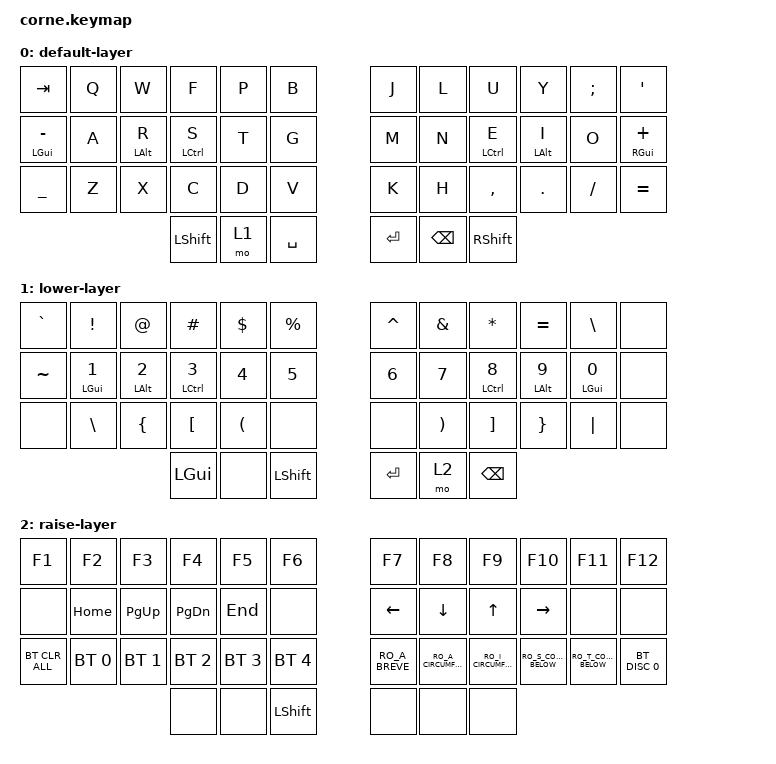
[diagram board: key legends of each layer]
/*
 * Copyright (c) 2020 The ZMK Contributors
 *
 * SPDX-License-Identifier: MIT
 */

#include <behaviors.dtsi>
#include <dt-bindings/zmk/bt.h>
#include <dt-bindings/zmk/keys.h>
#include "keys_ro_programmers.h"

/ {
    behaviors {
        hml: hml {
            compatible = "zmk,behavior-hold-tap";
            label = "HOMEROW MOD LEFT";
            bindings = <&kp>, <&kp>;

            #binding-cells = <2>;
            tapping-term-ms = <280>;
            quick-tap-ms = <175>;
            hold-trigger-key-positions = <6 7 8 9 10 11 18 19 20 21 22 23 30 31 32 33 34 35 39 40 41 36 37 38>;
            hold-trigger-on-release;
            flavor = "balanced";
        };

        hmr: hmr {
            compatible = "zmk,behavior-hold-tap";
            label = "HOMEROW MOD RIGHT";
            bindings = <&kp>, <&kp>;

            #binding-cells = <2>;
            tapping-term-ms = <280>;
            quick-tap-ms = <175>;
            hold-trigger-key-positions = <39 40 41 36 37 38 0 1 2 3 4 5 12 13 14 15 16 17 24 25 26 27 28 29>;
            hold-trigger-on-release;
            flavor = "balanced";
        };
    };

    combos {
        compatible = "zmk,combos";

        ESC_CMB {
            bindings = <&kp ESC>;
            key-positions = <36 41>;
        };
    };

    keymap {
        compatible = "zmk,keymap";

        default-layer {
            // -----------------------------------------------------------------------------------------
            // |  TAB |  Q  |  W  |  E  |  R  |  T  |   |  Y  |  U   |  I  |  O  |  P  | BKSP |
            // | CTRL |  A  |  S  |  D  |  F  |  G  |   |  H  |  J   |  K  |  L  |  ;  |  '   |
            // | SHFT |  Z  |  X  |  C  |  V  |  B  |   |  N  |  M   |  ,  |  .  |  /  | ESC  |
            //                    | GUI | LWR | SPC |   | ENT | RSE  | ALT |

            bindings = <
&kp TAB          &kp Q  &kp W        &kp F         &kp P  &kp B        &kp J    &kp L     &kp U         &kp Y        &kp SEMI  &kp APOS
&hml LGUI MINUS  &kp A  &hml LALT R  &hml LCTRL S  &kp T  &kp G        &kp M    &kp N     &hmr LCTRL E  &hmr LALT I  &kp O     &hmr RGUI PLUS
&kp UNDERSCORE   &kp Z  &kp X        &kp C         &kp D  &kp V        &kp K    &kp H     &kp COMMA     &kp DOT      &kp FSLH  &kp EQUAL
                                     &kp LSHIFT    &mo 1  &kp SPACE    &kp RET  &kp BSPC  &kp RSHIFT
            >;
        };

        lower-layer {
            // -----------------------------------------------------------------------------------------
            // |  TAB |  1  |  2  |  3  |  4  |  5  |   |  6  |  7  |  8  |  9  |  0  | BKSP |
            // | BTCLR| BT1 | BT2 | BT3 | BT4 | BT5 |   | LFT | DWN |  UP | RGT |     |      |
            // | SHFT |     |     |     |     |     |   |     |     |     |     |     |      |
            //                    | GUI |     | SPC |   | ENT |     | ALT |

            bindings = <
&kp GRAVE  &kp EXCLAMATION  &kp AT_SIGN     &kp POUND         &kp DOLLAR            &kp PERCENT    &kp CARET  &kp AMPERSAND          &kp ASTERISK       &kp EQUAL        &kp BACKSLASH  &none
&kp TILDE  &hml LGUI N1     &hml LALT N2    &hml LCTRL N3     &kp N4                &kp N5         &kp N6     &kp N7                 &hmr LCTRL N8      &hmr LALT N9     &hmr LGUI N0   &none
&none      &kp BACKSLASH    &kp LEFT_BRACE  &kp LEFT_BRACKET  &kp LEFT_PARENTHESIS  &none          &none      &kp RIGHT_PARENTHESIS  &kp RIGHT_BRACKET  &kp RIGHT_BRACE  &kp PIPE       &none
                                            &kp LGUI          &none                 &kp LSHIFT     &kp RET    &mo 2                  &kp BACKSPACE
            >;
        };

        raise-layer {
            bindings = <
&kp F1          &kp F2        &kp F3        &kp F4        &kp F5        &kp F6          &kp F7          &kp F8               &kp F9               &kp F10               &kp F11               &kp F12
&none           &kp HOME      &kp PG_UP     &kp PG_DN     &kp END       &none           &kp LEFT        &kp DOWN             &kp UP               &kp RIGHT             &none                 &none
&bt BT_CLR_ALL  &bt BT_SEL 0  &bt BT_SEL 1  &bt BT_SEL 2  &bt BT_SEL 3  &bt BT_SEL 4    &kp RO_A_BREVE  &kp RO_A_CIRCUMFLEX  &kp RO_I_CIRCUMFLEX  &kp RO_S_COMMA_BELOW  &kp RO_T_COMMA_BELOW  &bt BT_DISC 0
                                            &none         &none         &kp LSHIFT      &none           &none                &none
            >;
        };
    };

    conditional_layers {
        compatible = "zmk,conditional-layers";

        for-func-layer {
            if-layers = <1 2>;
            then-layer = <3>;
        };
    };
};
